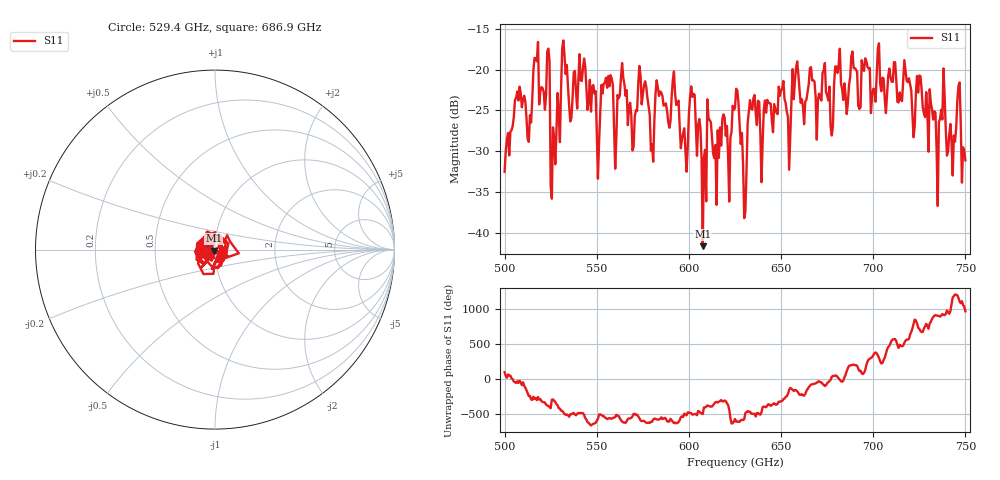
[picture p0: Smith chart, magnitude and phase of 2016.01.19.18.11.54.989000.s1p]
!Created with skrf (http://scikit-rf.org).
# GHz S RI R 50.0
!freq ReS11 ImS11
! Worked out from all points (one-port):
!   401 points, 500 GHz to 750 GHz, reference 50 ohm
!   lowest |S11| = -41.6 dB at 607.5 GHz (marker M1), VSWR 1.02, Z = 49.4 - j0.512 ohm
!   |S11| at or under -10 dB: start of sweep to end of sweep
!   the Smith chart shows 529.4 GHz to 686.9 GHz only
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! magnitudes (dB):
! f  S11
! 500 GHz  -32.5
! 506.9 GHz  -22.7
! 513.8 GHz  -25.6
! 516.9 GHz  -18.6
! 523.1 GHz  -17.8
! 526.2 GHz  -27.1
! 531.2 GHz  -17.4
! 550.6 GHz  -33.4
! 562.5 GHz  -23.2
! 570 GHz  -29.4
! 576.2 GHz  -21.4
! 580 GHz  -29.2
! 583.1 GHz  -22.2
! 593.8 GHz  -24.2
! 598.1 GHz  -30.1
! 601.9 GHz  -23.3
! 607.5 GHz  -41.6
! 611.2 GHz  -26.2
! 621.9 GHz  -36.2
! 625 GHz  -24.7
! 630 GHz  -38.2
! 634.4 GHz  -24.9
! 656.2 GHz  -19.9
! 687.5 GHz  -20.9
! 718.8 GHz  -21.5
! 735 GHz  -36.7
! 746.2 GHz  -22.0
! 750 GHz  -31.1
